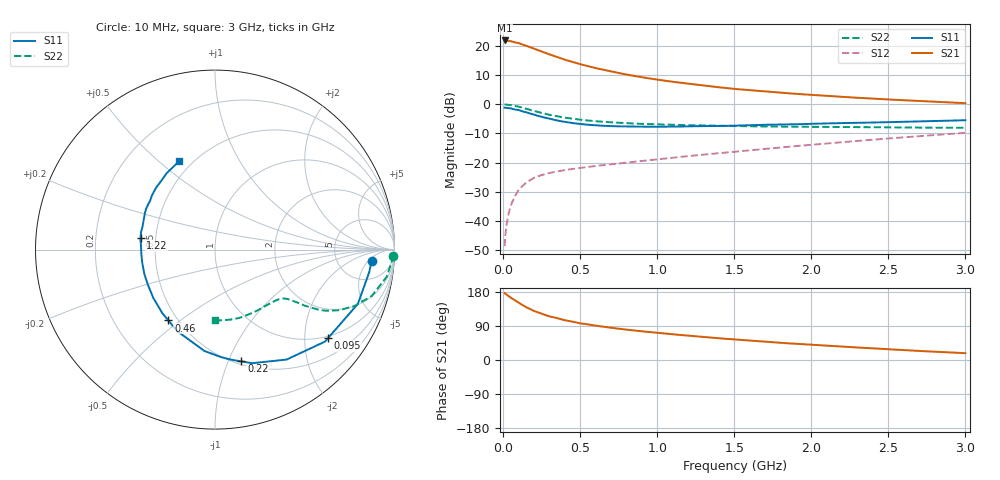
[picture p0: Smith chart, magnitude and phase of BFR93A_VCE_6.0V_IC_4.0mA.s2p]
! Infineon Technologies  Discrete & RF Semiconductors
! BFR93A
! VCE =  6.0 V,  IC =  4.0 mA
! Common Emitter S-Parameters:  Nov 2015
# GHz  S  MA  R  50
!  f  S11  S21  S12  S22
! GHz  MAG  ANG  MAG  ANG  MAG  ANG  MAG  ANG
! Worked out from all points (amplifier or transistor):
!   180 points, 10 MHz to 3 GHz, reference 50 ohm
!   highest |S21| = 21.9 dB at 10 MHz (marker M1)
!   |S21| within 3 dB of that: start of sweep to 211.2 MHz
!   unconditionally stable (mu >= 1): 824.1 MHz to 2.512 GHz
!   at 160 MHz: K = 0.29, MSG = 23.2 dB, |S12| = -26.5 dB
!   at 1.22 GHz: K = 1.11, MAG = 10.2 dB, |S12| = -17.7 dB
!   at 3 GHz: K = 0.93, MSG = 5.1 dB, |S12| = -9.8 dB
!   S11 on the Smith chart (normalised r, x): 10 MHz: 11, -6; 95 MHz: 0.95, -2.60; 220 MHz: 0.53, -1.12; 460 MHz: 0.45, -0.45; 1.22 GHz: 0.41, +0.06; 3 GHz: 0.43, +0.59
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0.01  0.8744 -4.2  12.39 176.6  0.0037 87.8  0.9924 -1.9
0.025  0.8629 -10.3  12.27 171.9  0.0094 83.5  0.9846 -4.5
0.05  0.8516 -20.8  12.03 164.3  0.0181 78.9  0.9688 -9.0
0.095  0.8 -37.9  11.25 152.5  0.0321 70.3  0.9158 -15.7
0.1  0.7989 -39.9  11.19 151.1  0.0337 69.8  0.9107 -16.5
0.15  0.7312 -56.9  10.08 139.1  0.0454 62.2  0.8357 -22.2
0.2  0.666 -71.9  9.007 129.6  0.0546 57.1  0.7678 -26.1
0.22  0.6398 -76.7  8.589 126.6  0.0572 55.4  0.744 -27.1
0.26  0.5999 -86.8  7.835 120.3  0.0622 52.7  0.699 -29.1
0.3  0.5681 -95.9  7.166 115.2  0.0663 51.0  0.6598 -30.3
0.4  0.501 -114.7  5.814 104.9  0.0746 48.8  0.5889 -32.0
0.46  0.4726 -123.3  5.229 100.4  0.0784 48.4  0.561 -32.5
0.52  0.4538 -132.0  4.717 95.8  0.0823 48.3  0.5363 -32.9
0.6  0.4365 -142.0  4.166 90.5  0.0874 48.7  0.5114 -33.5
0.7  0.4222 -152.3  3.641 84.9  0.0937 49.7  0.4897 -34.2
0.88  0.4127 -167.3  2.966 76.7  0.1053 51.9  0.4635 -36.1
1.02  0.4112 -177.2  2.597 70.9  0.1153 53.4  0.4508 -37.8
1.22  0.4195 171.4  2.221 63.5  0.1307 55.3  0.4368 -41.3
1.52  0.431 157.0  1.814 53.6  0.1554 57.3  0.4226 -47.3
2.02  0.4639 139.0  1.436 39.6  0.2041 58.2  0.4089 -59.4
2.52  0.4957 124.7  1.2 28.0  0.2616 56.3  0.4015 -73.9
3  0.532 111.9  1.043 18.0  0.3233 52.5  0.3948 -90.4
